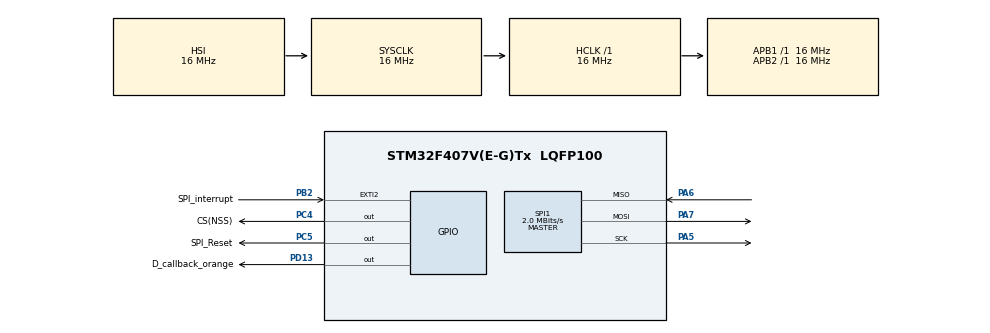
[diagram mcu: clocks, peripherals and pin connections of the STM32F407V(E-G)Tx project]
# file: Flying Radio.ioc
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Mcu.Family=STM32F4
Mcu.Name=STM32F407V(E-G)Tx
Mcu.Package=LQFP100
NVIC.EXTI2_IRQn=true\:0\:0\:false\:false\:true\:true\:true\:true
NVIC.PriorityGroup=NVIC_PRIORITYGROUP_4
PA13.Mode=Serial_Wire
PA13.Signal=SYS_JTMS-SWDIO
PA14.Mode=Serial_Wire
PA14.Signal=SYS_JTCK-SWCLK
PA5.Mode=Full_Duplex_Master
PA5.Signal=SPI1_SCK
PA6.Mode=Full_Duplex_Master
PA6.Signal=SPI1_MISO
PA7.Mode=Full_Duplex_Master
PA7.Signal=SPI1_MOSI
PB2.GPIO_Label=SPI_interrupt
PB2.Signal=GPXTI2
PC4.GPIO_Label=CS(NSS)
PC4.GPIO_Speed=GPIO_SPEED_FREQ_MEDIUM
PC4.Signal=GPIO_Output
PC5.GPIO_Label=SPI_Reset
PC5.Signal=GPIO_Output
PD13.GPIO_Label=D_callback_orange
PD13.Signal=GPIO_Output
ProjectManager.HeapSize=0x200
ProjectManager.StackSize=0x400
ProjectManager.TargetToolchain=STM32CubeIDE
RCC.AHBFreq_Value=16000000
RCC.APB1Freq_Value=16000000
RCC.APB2Freq_Value=16000000
RCC.CortexFreq_Value=16000000
RCC.HSE_VALUE=25000000
RCC.HSI_VALUE=16000000
RCC.LSE_VALUE=32768
RCC.SYSCLKFreq_VALUE=16000000
RCC.VCOOutputFreq_Value=192000000
SPI1.BaudRatePrescaler=SPI_BAUDRATEPRESCALER_8
SPI1.CalculateBaudRate=2.0 MBits/s
SPI1.Direction=SPI_DIRECTION_2LINES
SPI1.Mode=SPI_MODE_MASTER
SPI1.VirtualType=VM_MASTER
board=custom

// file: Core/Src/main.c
/* USER CODE BEGIN Header */
/**
  ******************************************************************************
  * @file           : main.c
  * @brief          : Main program body
  ******************************************************************************
  * @attention
  *
  * Copyright (c) 2025 STMicroelectronics.
  * All rights reserved.
  *
  * This software is licensed under terms that can be found in the LICENSE file
  * in the root directory of this software component.
  * If no LICENSE file comes with this software, it is provided AS-IS.
  *
  ******************************************************************************
  */
/* USER CODE END Header */
#include "main.h"

/* USER CODE BEGIN Includes */
#include <stdio.h>
#include "core_cm4.h"  // lub core_cm3.h/core_cm7.h zależnie od MCU
#include <stdbool.h>
#include <string.h>
/* USER CODE END Includes */

/* USER CODE BEGIN PD */
#define LORA_NSS_GPIO_Port    GPIOC
#define LORA_NSS_Pin          GPIO_PIN_4

#define LORA_RESET_GPIO_Port  GPIOC
#define LORA_RESET_Pin        GPIO_PIN_5

#define LORA_DIO0_GPIO_Port   GPIOB
#define LORA_DIO0_Pin         GPIO_PIN_2
/* USER CODE END PD */

SPI_HandleTypeDef hspi1;

/* USER CODE BEGIN PV */

//USER HELP VARIABLES and debugging functions
const bool BOOL_Log_1 = true;
const bool BOOL_Log_0 = false;

bool my_bit = false;
void ToggleBit(void) {
    my_bit = !my_bit;
}

int _write(int file, char *ptr, int len) {
    for (int i = 0; i < len; i++) {
        ITM_SendChar(ptr[i]); // Wysyłanie znaków do kanału 0 SWV
    }
    return len;
}

/* USER CODE END PV */

void SystemClock_Config(void);
static void MX_GPIO_Init(void);
static void MX_SPI1_Init(void);

/* USER CODE BEGIN 0 */

//LoRa handling functions
void LoRa_Select(void) {
    HAL_GPIO_WritePin(LORA_NSS_GPIO_Port, LORA_NSS_Pin, GPIO_PIN_RESET); // CS LOW
}
void LoRa_Unselect(void) {
    HAL_GPIO_WritePin(LORA_NSS_GPIO_Port, LORA_NSS_Pin, GPIO_PIN_SET); // CS HIGH
}

// LoRa reset function
void LoRa_Reset(void) {
    HAL_GPIO_WritePin(LORA_RESET_GPIO_Port, LORA_RESET_Pin, GPIO_PIN_RESET);
    HAL_Delay(10);
    HAL_GPIO_WritePin(LORA_RESET_GPIO_Port, LORA_RESET_Pin, GPIO_PIN_SET);
    HAL_Delay(10);
}

// Funkcja SPI do komunikacji z LoRa – jeden bajt w obie strony
uint8_t LoRa_SPI_ReadWrite(uint8_t data) {
    uint8_t received;
    HAL_SPI_TransmitReceive(&hspi1, &data, &received, 1, HAL_MAX_DELAY);
    return received;
}

// Zapis do rejestru SX1278
void LoRa_WriteRegister(uint8_t reg, uint8_t value) {
    LoRa_Select();
    LoRa_SPI_ReadWrite(reg | 0x80); // Bit 7 = 1 -> zapis
    LoRa_SPI_ReadWrite(value);
    LoRa_Unselect();
}

// Odczyt z rejestru SX1278
uint8_t LoRa_ReadRegister(uint8_t reg) {
    LoRa_Select();
    LoRa_SPI_ReadWrite(reg & 0x7F); // Bit 7 = 0 -> odczyt
    uint8_t value = LoRa_SPI_ReadWrite(0x00);
    LoRa_Unselect();
    return value;
}

void LoRa_Init(void) {
    LoRa_Reset();
    HAL_Delay(200);

    uint8_t version = LoRa_ReadRegister(0x42);
    if (version != 0x12) {

    	// Błąd - moduł nie odpowiada poprawnie
    	 for (int i = 0; i < 5; i++) {
    		        HAL_GPIO_WritePin(GPIOD, GPIO_PIN_13, GPIO_PIN_SET);   // zapal diodę
    	            HAL_Delay(200);
    	            HAL_GPIO_WritePin(GPIOD, GPIO_PIN_13, GPIO_PIN_RESET); // zgaś diodę
    	            HAL_Delay(200);
    	 }
    	 HAL_GPIO_WritePin(GPIOD, GPIO_PIN_13, GPIO_PIN_SET);
        while(1);
    }

    // Sleep + LoRa mode enabled (bit7=1)
    LoRa_WriteRegister(0x01, 0x80);

    // Dla 433.125 MHz
    uint32_t frf = (uint32_t)(433125000.0 / 61.03515625); // = 7094272 ≈ 0x6C40A0

    LoRa_WriteRegister(0x06, (frf >> 16) & 0xFF); // 0x6C
    LoRa_WriteRegister(0x07, (frf >> 8) & 0xFF);  // 0x40
    LoRa_WriteRegister(0x08, frf & 0xFF);         // 0xA0

    // PA config - max power
    LoRa_WriteRegister(0x09, 0x4F);

    // Ochrona prądu
    LoRa_WriteRegister(0x0A, 0x23);

    // LNA gain max
    LoRa_WriteRegister(0x0B, 0x07);

    // Modem config
    LoRa_WriteRegister(0x1D, 0x72); // ModemConfig1: BW=125, CR=4/5
    LoRa_WriteRegister(0x1E, 0x94); // ModemConfig2: SF=9, CRC on
    LoRa_WriteRegister(0x26, 0x04); // ModemConfig3: LowDataRateOptimize = off

    printf("ModemConfig1: 0x%02X\n", LoRa_ReadRegister(0x1D));
    printf("ModemConfig2: 0x%02X\n", LoRa_ReadRegister(0x1E));
    printf("ModemConfig3: 0x%02X\n", LoRa_ReadRegister(0x26));

    // FIFO base address: Tx i Rx poprawnie!
    LoRa_WriteRegister(0x0E, 0x00); // RegFifoTxBaseAddr
    LoRa_WriteRegister(0x0F, 0x00); // RegFifoRxBaseAddr

    // Tryb RX continuous
    LoRa_WriteRegister(0x01, 0x85); // LoRa mode, RX continuous

    // Wyczyść IRQ
    LoRa_WriteRegister(0x12, 0xFF);
}

void LoRa_SendText(const char *text) {

	// 1. Wyczyść flagi IRQ
    LoRa_WriteRegister(0x12, 0xFF);

    // 1. Ustaw FIFO base addr na 0
    LoRa_WriteRegister(0x0E, 0x00);
    LoRa_WriteRegister(0x0D, 0x00);

    // 3. Załaduj dane do FIFO
    LoRa_Select();
    LoRa_SPI_ReadWrite(0x80); // FIFO address with write bit

    printf("parametry przed petla for  do wpisywania do fifo\n");
       LoRa_DumpRegisters();

    for (uint8_t i = 0; i < strlen(text); i++) {
        LoRa_SPI_ReadWrite(text[i]);
    }
    LoRa_Unselect();

    // 4. Ustaw długość wiadomości
    LoRa_WriteRegister(0x22, strlen(text)); // RegPayloadLength

    // 5. Tryb TX (LoRa mode, FSK off, TX on)
    LoRa_WriteRegister(0x01, 0x83); // RegOpMode: LoRa, TX mode

    printf("OpMode=0x%02X, IrqFlags=0x%02X, PayloadLen=%d\r\n",
           LoRa_ReadRegister(0x01),
           LoRa_ReadRegister(0x12),
           LoRa_ReadRegister(0x22));

    printf("parametry przed petla while - sprawdzeniem czy tx done\n");
    LoRa_DumpRegisters();

    // 6. Czekaj na zakończenie transmisji
    while ((LoRa_ReadRegister(0x12) & 0x08) == 0) // TX_DONE = 0x08
    {
    	printf("Still waiting... Irq=0x%02X\r\n", LoRa_ReadRegister(0x12));
    	LoRa_DumpRegisters();
    	HAL_Delay(2000);
    };

    // 🐞 DEBUG: potwierdzenie zakończenia
    printf("TX done: Irq=0x%02X\r\n", LoRa_ReadRegister(0x12));

    for (int i = 0; i < 2; i++) {
       		        HAL_GPIO_WritePin(GPIOD, GPIO_PIN_13, GPIO_PIN_SET);   // zapal diodę
       	            HAL_Delay(200);
       	            HAL_GPIO_WritePin(GPIOD, GPIO_PIN_13, GPIO_PIN_RESET); // zgaś diodę
       	            HAL_Delay(200);
       	 }

    HAL_Delay(400);

    // 7. Wyczyść flagi IRQ
    LoRa_WriteRegister(0x12, 0xFF);

    // 8. Tryb RX (powrót)
    LoRa_WriteRegister(0x01, 0x85); // RX_CONTINUOUS
}

int LoRa_ReceiveText(char *buffer, int max_len) {
    uint8_t irqFlags = LoRa_ReadRegister(0x12);

    if (irqFlags & 0x40) { // Rx done
        // Sprawdź CRC ok
        if (irqFlags & 0x20) {
            // Błąd CRC
            LoRa_WriteRegister(0x12, 0xFF); // wyczyść przerwania
            return 0;
        }

        // Odczytaj długość pakietu
        uint8_t len = LoRa_ReadRegister(0x13);

        // Ustaw adres FIFO na ostatni pakiet
        uint8_t fifoRxCurrentAddr = LoRa_ReadRegister(0x10);
        LoRa_WriteRegister(0x0D, fifoRxCurrentAddr);

        if (len > max_len - 1) len = max_len - 1;

        for (uint8_t i = 0; i < len; i++) {
            buffer[i] = LoRa_ReadRegister(0x00);
        }
        buffer[len] = 0;

        // Wyczyść przerwania
        LoRa_WriteRegister(0x12, 0xFF);

        return len;
    }
    return 0;
}

void LoRa_ReportEvent(void) {
    uint8_t irqFlags = LoRa_ReadRegister(0x12);   // RegIrqFlags
    LoRa_WriteRegister(0x12, 0xFF);               // Skasuj flagi (1 = clear)

    if (irqFlags & (1 << 6)) {
        LoRa_SendText("CRC ERROR\r\n");
    } else if (irqFlags & (1 << 3)) {
        LoRa_SendText("RX DONE\r\n");
    } else if (irqFlags & (1 << 0)) {
        LoRa_SendText("TX DONE\r\n");
    } else {
        char msg[32];
        sprintf(msg, "IRQ Unknown: 0x%02X\r\n", irqFlags);
        LoRa_SendText(msg);
    }
}

volatile uint8_t flag_error = 0;
volatile uint8_t flag_rx_done = 0;
volatile uint8_t lora_event_flag = 0;

void HAL_GPIO_EXTI_Callback(uint16_t GPIO_Pin)
{
	int HUL_TEST = 1;
    if (GPIO_Pin == SPI_interrupt_Pin) { // przerwanie od SX1278
        uint8_t irqFlags = LoRa_ReadRegister(0x12);

        if (irqFlags & 0x20) {  // CRC error
            flag_error = 1;
            HAL_GPIO_WritePin(GPIOD, GPIO_PIN_13, GPIO_PIN_SET); // zapal diodę
            // wysyłamy komunikat radiowy informujący o błędzie (jednorazowo)
            LoRa_SendText("ERROR: CRC");
        } else if (irqFlags & 0x40) { // Rx done
            flag_rx_done = 1;
            HAL_GPIO_WritePin(GPIOD, GPIO_PIN_13, GPIO_PIN_RESET); // zgaś diodę
            // opcjonalnie potwierdzenie odebrania
            LoRa_SendText("RX_DONE");
        }

        LoRa_WriteRegister(0x12, 0xFF); // czyścimy przerwania
    }
}

uint8_t reg_values[15];

void LoRa_DumpRegisters() {
    printf("Version: 0x%02X\n", LoRa_ReadRegister(0x42));
    printf("OpMode: 0x%02X\n", LoRa_ReadRegister(0x01));
    printf("RegFifoAddrPtr: 0x%02X\n", LoRa_ReadRegister(0x0D));
    printf("RegFifoTxBaseAddr: 0x%02X\n", LoRa_ReadRegister(0x0E));
    printf("RegPayloadLength: %d\n", LoRa_ReadRegister(0x22));
    printf("RegModemConfig1: 0x%02X\n", LoRa_ReadRegister(0x1D));
    printf("RegModemConfig2: 0x%02X\n", LoRa_ReadRegister(0x1E));
    printf("RegModemConfig3: 0x%02X\n", LoRa_ReadRegister(0x26));
    printf("Freq (MSB): 0x%02X\n", LoRa_ReadRegister(0x06));
    printf("Freq (MID): 0x%02X\n", LoRa_ReadRegister(0x07));
    printf("Freq (LSB): 0x%02X\n", LoRa_ReadRegister(0x08));
    printf("PaConfig: 0x%02X\n", LoRa_ReadRegister(0x09));
    printf("IrqFlags: 0x%02X\n", LoRa_ReadRegister(0x12));
}

/* USER CODE END 0 */

int main(void)
{

  /* MCU Configuration--------------------------------------------------------*/

  /* Reset of all peripherals, Initializes the Flash interface and the Systick. */
  HAL_Init();

  /* Configure the system clock */
  SystemClock_Config();

  /* Initialize all configured peripherals */
  MX_GPIO_Init();
  MX_SPI1_Init();
  /* USER CODE BEGIN 2 */

  LoRa_Init();  // konfigurujesz po resecie, nie przed

  LoRa_DumpRegisters();

  /* USER CODE END 2 */

  /* Infinite loop */
  /* USER CODE BEGIN WHILE */

//  LoRa_DumpRegisters();

  while (1)
  {

	  if (lora_event_flag) {
	      lora_event_flag = 0;
	      LoRa_ReportEvent();  // odczytaj rejestr i wyślij informację do PC
	  }

//	  static uint32_t last_send = 0;
//	         if (HAL_GetTick() - last_send > 10000) {
//	             LoRa_SendText("MENU:\r\n1.Status\r\n2.Config\r\n3.Reset\r\nWpisz nr opcji:\r\n");
//	             last_send = HAL_GetTick();

//	             for (int i = 0; i < 3; i++) {
//	                 		        HAL_GPIO_WritePin(GPIOD, GPIO_PIN_13, GPIO_PIN_SET);   // zapal diodę
//	                 	            HAL_Delay(200);
//	                 	            HAL_GPIO_WritePin(GPIOD, GPIO_PIN_13, GPIO_PIN_RESET); // zgaś diodę
//	                 	            HAL_Delay(200);
	                 //	 }

	        // }

	   LoRa_SendText("MENU:\n");

	             HAL_Delay(2000);

    /* USER CODE END WHILE */

  }
}

void SystemClock_Config(void)
{
  RCC_OscInitTypeDef RCC_OscInitStruct = {0};
  RCC_ClkInitTypeDef RCC_ClkInitStruct = {0};

  /** Configure the main internal regulator output voltage
  */
  __HAL_RCC_PWR_CLK_ENABLE();
  __HAL_PWR_VOLTAGESCALING_CONFIG(PWR_REGULATOR_VOLTAGE_SCALE1);

  /** Initializes the RCC Oscillators according to the specified parameters
  * in the RCC_OscInitTypeDef structure.
  */
  RCC_OscInitStruct.OscillatorType = RCC_OSCILLATORTYPE_HSI;
  RCC_OscInitStruct.HSIState = RCC_HSI_ON;
  RCC_OscInitStruct.HSICalibrationValue = RCC_HSICALIBRATION_DEFAULT;
  RCC_OscInitStruct.PLL.PLLState = RCC_PLL_NONE;
  if (HAL_RCC_OscConfig(&RCC_OscInitStruct) != HAL_OK)
  {
    Error_Handler();
  }

  /** Initializes the CPU, AHB and APB buses clocks
  */
  RCC_ClkInitStruct.ClockType = RCC_CLOCKTYPE_HCLK|RCC_CLOCKTYPE_SYSCLK
                              |RCC_CLOCKTYPE_PCLK1|RCC_CLOCKTYPE_PCLK2;
  RCC_ClkInitStruct.SYSCLKSource = RCC_SYSCLKSOURCE_HSI;
  RCC_ClkInitStruct.AHBCLKDivider = RCC_SYSCLK_DIV1;
  RCC_ClkInitStruct.APB1CLKDivider = RCC_HCLK_DIV1;
  RCC_ClkInitStruct.APB2CLKDivider = RCC_HCLK_DIV1;

  if (HAL_RCC_ClockConfig(&RCC_ClkInitStruct, FLASH_LATENCY_0) != HAL_OK)
  {
    Error_Handler();
  }
}

static void MX_SPI1_Init(void)
{

  /* SPI1 parameter configuration*/
  hspi1.Instance = SPI1;
  hspi1.Init.Mode = SPI_MODE_MASTER;
  hspi1.Init.Direction = SPI_DIRECTION_2LINES;
  hspi1.Init.DataSize = SPI_DATASIZE_8BIT;
  hspi1.Init.CLKPolarity = SPI_POLARITY_LOW;
  hspi1.Init.CLKPhase = SPI_PHASE_1EDGE;
  hspi1.Init.NSS = SPI_NSS_SOFT;
  hspi1.Init.BaudRatePrescaler = SPI_BAUDRATEPRESCALER_8;
  hspi1.Init.FirstBit = SPI_FIRSTBIT_MSB;
  hspi1.Init.TIMode = SPI_TIMODE_DISABLE;
  hspi1.Init.CRCCalculation = SPI_CRCCALCULATION_DISABLE;
  hspi1.Init.CRCPolynomial = 10;
  if (HAL_SPI_Init(&hspi1) != HAL_OK)
  {
    Error_Handler();
  }

}

static void MX_GPIO_Init(void)
{
  GPIO_InitTypeDef GPIO_InitStruct = {0};

  /* GPIO Ports Clock Enable */
  __HAL_RCC_GPIOA_CLK_ENABLE();
  __HAL_RCC_GPIOC_CLK_ENABLE();
  __HAL_RCC_GPIOB_CLK_ENABLE();
  __HAL_RCC_GPIOD_CLK_ENABLE();

  /*Configure GPIO pin Output Level */
  HAL_GPIO_WritePin(GPIOC, CS_Pin|SPI_Reset_Pin, GPIO_PIN_RESET);

  /*Configure GPIO pin Output Level */
  HAL_GPIO_WritePin(D_callback_orange_GPIO_Port, D_callback_orange_Pin, GPIO_PIN_RESET);

  /*Configure GPIO pin : CS_Pin */
  GPIO_InitStruct.Pin = CS_Pin;
  GPIO_InitStruct.Mode = GPIO_MODE_OUTPUT_PP;
  GPIO_InitStruct.Pull = GPIO_NOPULL;
  GPIO_InitStruct.Speed = GPIO_SPEED_FREQ_MEDIUM;
  HAL_GPIO_Init(CS_GPIO_Port, &GPIO_InitStruct);

  /*Configure GPIO pin : SPI_Reset_Pin */
  GPIO_InitStruct.Pin = SPI_Reset_Pin;
  GPIO_InitStruct.Mode = GPIO_MODE_OUTPUT_PP;
  GPIO_InitStruct.Pull = GPIO_NOPULL;
  GPIO_InitStruct.Speed = GPIO_SPEED_FREQ_LOW;
  HAL_GPIO_Init(SPI_Reset_GPIO_Port, &GPIO_InitStruct);

  /*Configure GPIO pin : SPI_interrupt_Pin */
  GPIO_InitStruct.Pin = SPI_interrupt_Pin;
  GPIO_InitStruct.Mode = GPIO_MODE_IT_RISING;
  GPIO_InitStruct.Pull = GPIO_NOPULL;
  HAL_GPIO_Init(SPI_interrupt_GPIO_Port, &GPIO_InitStruct);

  /*Configure GPIO pin : D_callback_orange_Pin */
  GPIO_InitStruct.Pin = D_callback_orange_Pin;
  GPIO_InitStruct.Mode = GPIO_MODE_OUTPUT_PP;
  GPIO_InitStruct.Pull = GPIO_NOPULL;
  GPIO_InitStruct.Speed = GPIO_SPEED_FREQ_LOW;
  HAL_GPIO_Init(D_callback_orange_GPIO_Port, &GPIO_InitStruct);

  /* EXTI interrupt init*/
  HAL_NVIC_SetPriority(EXTI2_IRQn, 0, 0);
  HAL_NVIC_EnableIRQ(EXTI2_IRQn);

}

void Error_Handler(void)
{
  __disable_irq();
  while (1)
  {
  }
}
